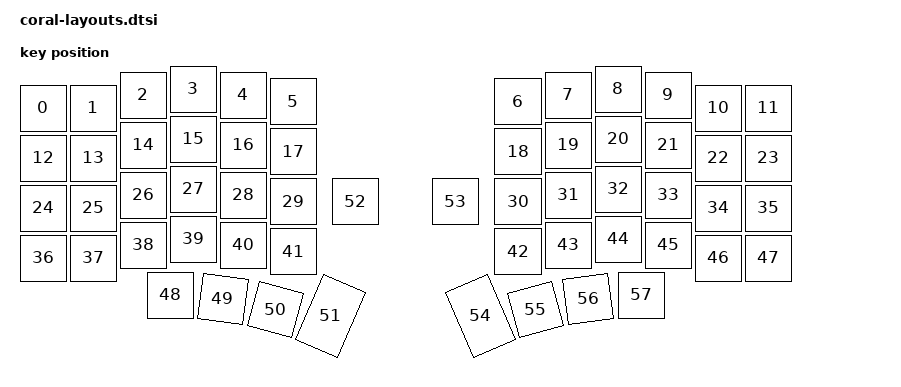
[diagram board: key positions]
#include <physical_layouts.dtsi>

/ {
    physical_layout0: physical_layout_0 {
        compatible = "zmk,physical-layout";
        display-name = "Default";

        keys  //                     w   h    x    y     rot    rx    ry
            = <&key_physical_attrs 100 100    0   38       0     0     0>
            , <&key_physical_attrs 100 100  100   38       0     0     0>
            , <&key_physical_attrs 100 100  200   12       0     0     0>
            , <&key_physical_attrs 100 100  300    0       0     0     0>
            , <&key_physical_attrs 100 100  400   12       0     0     0>
            , <&key_physical_attrs 100 100  500   25       0     0     0>
            , <&key_physical_attrs 100 100  950   25       0     0     0>
            , <&key_physical_attrs 100 100 1050   12       0     0     0>
            , <&key_physical_attrs 100 100 1150    0       0     0     0>
            , <&key_physical_attrs 100 100 1250   12       0     0     0>
            , <&key_physical_attrs 100 100 1350   38       0     0     0>
            , <&key_physical_attrs 100 100 1450   38       0     0     0>
            , <&key_physical_attrs 100 100    0  138       0     0     0>
            , <&key_physical_attrs 100 100  100  138       0     0     0>
            , <&key_physical_attrs 100 100  200  112       0     0     0>
            , <&key_physical_attrs 100 100  300  100       0     0     0>
            , <&key_physical_attrs 100 100  400  112       0     0     0>
            , <&key_physical_attrs 100 100  500  125       0     0     0>
            , <&key_physical_attrs 100 100  950  125       0     0     0>
            , <&key_physical_attrs 100 100 1050  112       0     0     0>
            , <&key_physical_attrs 100 100 1150  100       0     0     0>
            , <&key_physical_attrs 100 100 1250  112       0     0     0>
            , <&key_physical_attrs 100 100 1350  138       0     0     0>
            , <&key_physical_attrs 100 100 1450  138       0     0     0>
            , <&key_physical_attrs 100 100    0  238       0     0     0>
            , <&key_physical_attrs 100 100  100  238       0     0     0>
            , <&key_physical_attrs 100 100  200  212       0     0     0>
            , <&key_physical_attrs 100 100  300  200       0     0     0>
            , <&key_physical_attrs 100 100  400  212       0     0     0>
            , <&key_physical_attrs 100 100  500  225       0     0     0>
            , <&key_physical_attrs 100 100  950  225       0     0     0>
            , <&key_physical_attrs 100 100 1050  212       0     0     0>
            , <&key_physical_attrs 100 100 1150  200       0     0     0>
            , <&key_physical_attrs 100 100 1250  212       0     0     0>
            , <&key_physical_attrs 100 100 1350  238       0     0     0>
            , <&key_physical_attrs 100 100 1450  238       0     0     0>
            , <&key_physical_attrs 100 100    0  338       0     0     0>
            , <&key_physical_attrs 100 100  100  338       0     0     0>
            , <&key_physical_attrs 100 100  200  312       0     0     0>
            , <&key_physical_attrs 100 100  300  300       0     0     0>
            , <&key_physical_attrs 100 100  400  312       0     0     0>
            , <&key_physical_attrs 100 100  500  325       0     0     0>
            , <&key_physical_attrs 100 100  950  325       0     0     0>
            , <&key_physical_attrs 100 100 1050  312       0     0     0>
            , <&key_physical_attrs 100 100 1150  300       0     0     0>
            , <&key_physical_attrs 100 100 1250  312       0     0     0>
            , <&key_physical_attrs 100 100 1350  338       0     0     0>
            , <&key_physical_attrs 100 100 1450  338       0     0     0>
            , <&key_physical_attrs 100 100  254  412       0     0     0>
            , <&key_physical_attrs 100 100  360  420     760   410   470>
            , <&key_physical_attrs 100 100  465  441    1520   515   491>
            , <&key_physical_attrs 150 100  551  453 (-6625)   626   504>
            , <&key_physical_attrs 100 100  625  225       0     0     0>
            , <&key_physical_attrs 100 100  825  225       0     0     0>
            , <&key_physical_attrs 150 100  849  453    6625   924   504>
            , <&key_physical_attrs 100 100  985  441 (-1520)  1035   491>
            , <&key_physical_attrs 100 100 1090  420  (-760)  1140   470>
            , <&key_physical_attrs 100 100 1196  412       0     0     0>
            ;
    };
};
